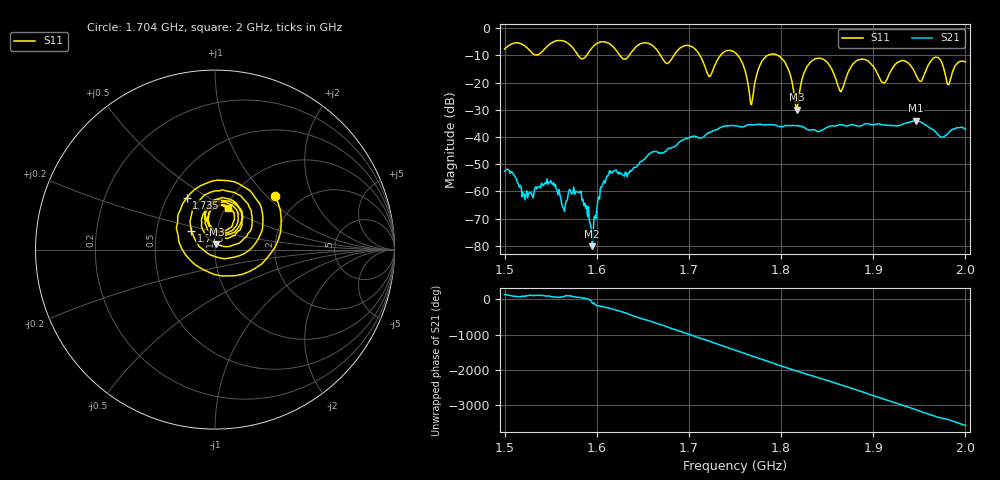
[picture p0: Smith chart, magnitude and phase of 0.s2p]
! NanoVNA-App by SYSJOINT et al v1.1.209 (+OD18)
! Date: 2026-01-21 14:47:24
! Start: 1,5GHz Stop: 2GHz Points: 501
! S-Parameter data: F S11 S21 S12 S22
# Hz S RI R 50
!  Frequency  S11_Real  S11_Imag  S21_Real  S21_Imag  S12_Real  S12_Imag  S22_Real  S22_Imag
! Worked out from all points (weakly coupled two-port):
!   501 points, 1.5 GHz to 2 GHz, reference 50 ohm
!   highest |S21| = -33.96 dB at 1.946 GHz (marker M1); lowest = -80.1 dB at 1.595 GHz (marker M2)
!   lowest |S11| = -30.0 dB at 1.817 GHz (marker M3), VSWR 1.07, Z = 50.7 + j3.11 ohm
!   |S11| at or under -10 dB: 1.712 GHz to 1.734 GHz (22.31 MHz wide, 1.3 % of centre); 1.753 GHz to 1.785 GHz (32.25 MHz wide, 1.82 % of centre); 1.797 GHz to end of sweep (the widest 3 of 6)
!   S12 and S22 are empty: the file has one direction only
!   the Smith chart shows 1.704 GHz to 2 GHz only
!   S11 on the Smith chart (normalised r, x): 1.704 GHz: 1.50, +1.12; 1.735 GHz: 0.63, +0.41; 1.775 GHz: 0.75, +0.16; 2 GHz: 1.02, +0.50
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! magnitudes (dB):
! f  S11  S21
! 1.5 GHz  -7.6  -52.6
! 1.521 GHz  -6.3  -60.9
! 1.584 GHz  -11.3  -63.3
! 1.595 GHz  -7.1  -80.1
! 1.613 GHz  -5.6  -53.5
! 1.667 GHz  -8.9  -45.9
! 1.704 GHz  -7.0  -39.8
! 1.722 GHz  -17.8  -38.5
! 1.735 GHz  -9.6  -36.5
! 1.75 GHz  -9.0  -35.9
! 1.767 GHz  -27.9  -35.4
! 1.775 GHz  -15.5  -35.3
! 1.799 GHz  -10.5  -36.2
! 1.817 GHz  -30.0  -35.8
! 1.834 GHz  -11.8  -37.3
! 1.865 GHz  -23.4  -35.5
! 1.885 GHz  -11.5  -36.0
! 1.917 GHz  -17.1  -35.7
! 1.946 GHz  -16.9  -34.0
! 1.969 GHz  -10.7  -38.7
! 1.982 GHz  -20.8  -38.4
! 2 GHz  -12.3  -37.3
